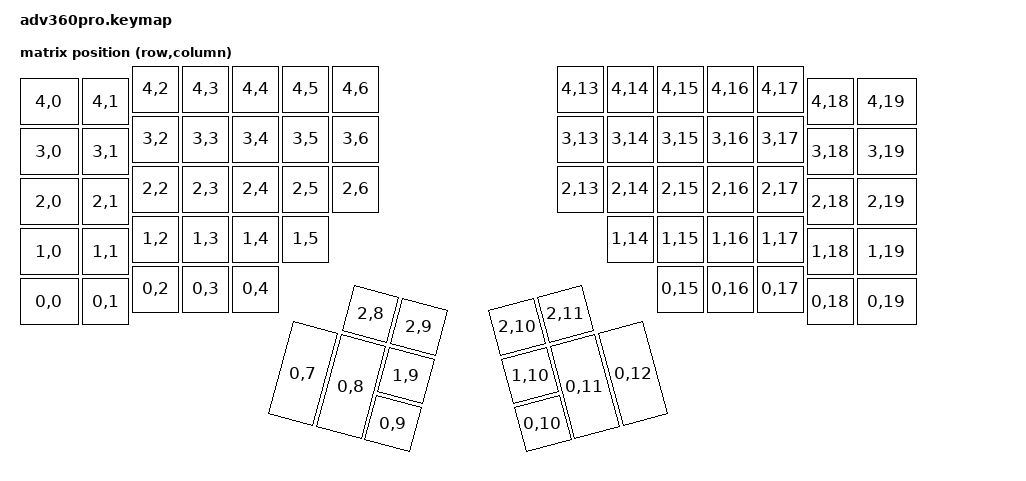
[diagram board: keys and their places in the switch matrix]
/*                                 ADVANTAGE 360 KEY MATRIX / LAYOUT MAPPING
 ╭────────────────────────────┬────────────────────────────╮ ╭────────────────────────────┬────────────────────────────╮
 │  0   1   2   3   4   5   6 │  7   8   9  10  11  12  13 │ │ LN5 LN4 LN3 LN2 LN1 LN0 -- │ --  RN0 RN1 RN2 RN3 RN4 RN5│
 │ 14  15  16  17  18  19  20 │ 21  22  23  24  25  26  27 │ │ LT5 LT4 LT3 LT2 LT1 LT0 -- │ --  RT0 RT1 RT2 RT3 RT4 RT5│
 │ 28  29  30  31  32  33  34 │ 35  36  37  38  39  40  41 │ │ LM5 LM4 LM3 LM2 LM1 LM0 -- │ --  RM0 RM1 RM2 RM3 RM4 RM5│
 │ 42  43  44  45  46  47 ╭───┴───╮ 48  49  50  51  52  53 │ │ LB5 LB4 LB3 LB2 LB1 LB0╭───┴───╮ RB0 RB1 RB2 RB3 RB4 RB5│
 │ 54  55  56  57  58╭────╯       ╰────╮59  60  61  62  63 │ │ --  --  --  --  --╭────╯       ╰────╮--  --  --  --  -- │
 ╰───────────────────┼────────┬────────┼───────────────────╯ ╰───────────────────┼────────┬────────┼───────────────────╯
                 ╭───╯ 64  65 │ 66  67 ╰───╮                                 ╭───╯ --  -- │ --  -- ╰───╮
                 │ 68  69  70 │ 71  72  73 │                                 │ LH1 LH0 -- │ --  RH0 RH1│
                 ╰───────╮ 74 │ 75 ╭───────╯                                 ╰───────╮ -- │ -- ╭───────╯
                         ╰────┴────╯                                                 ╰────┴────╯ *//* source key position labels */

#include "adv360_custom.h"  // urob key order, vendored from zmk-helpers v2

/* map 360's extra keys */
#define X_LT    &none &kp N5 &kp N1 &kp N2 &kp N3 &kp N4 &bootloader     &bootloader &none &kp N7 &kp N8 &kp N9 &none &studio_unlock \
                &kp TAB
#define X_MT    &kp N5 &to 0
#define X_RT    &kp RALT

#define X_LM    &kp ESC
#define X_MM    &tog GAME &tog GAME
#define X_RM    &kp RET

#define X_LB    &kp LSHFT
#define X_RB    &kp RSHFT


#define X_LH    &kp LCTRL &kp LGUI &kp LALT &kp LEFT &kp RIGHT     &kp UP &kp DOWN &none &none &none \
                &swapper    &tog GAME            &kp RGUI  &kp RCTRL
#define X_MH    &kp HOME    &kp PG_UP
#define X_RH    &kp END     &kp PG_DN

/* gaming version */
#define G_X_LT  &kp ESC &kp N6 &kp N1 &kp N2 &kp N3 &kp N4 &kp N5    &bootloader &none &kp N7 &kp N8 &kp N9 &none &studio_unlock \
                &kp ESC
#define G_X_MT  &kp T &to 0

#define G_X_LM  &kp H
#define G_X_MM  &kp G &tog GAME
#define G_X_RM  &kp RET

#define G_X_LB  &kp B

#define G_X_LH  &kp I     &kp LGUI &kp RET &kp LEFT &kp RIGHT     &kp UP &kp DOWN &none &none &none \
                &swapper     &tog GAME            &kp RGUI  &kp RCTRL
#define G_X_MH  &kp M       &kp PG_UP
#define G_X_RH  &mo GAME_FN  &kp PG_DN

/* game_fn layer (held from the game layer) */
#define GF_X_LT ___ &kp F6 &kp F1 &kp F2 &kp F3 &kp F4 &kp F5     ___ ___ ___ ___ ___ ___ ___ \
                ___
#define GF_X_MT &kp N0 ___

#define GF_X_LM ___
#define GF_X_MM &kp F11 ___

#define GF_X_LB &kp PSCRN

#define GF_X_LH &kp C_MUTE ___ &kp C_PP &kp C_VOL_DN &kp C_VOL_UP     ___ ___ ___ ___ ___ \
                ___ ___            ___ ___
#define GF_X_MH &kp BSPC    ___
#define GF_X_RH ___         ___

/* activate bluetooth */
#define CONFIG_WIRELESS 1

/* leds and backlights
#include <dt-bindings/zmk/rgb.h>
#include <dt-bindings/zmk/backlight.h>
 */

/* source the main keymap */
#include "base.keymap"


/* use urob's key order for the Advantage 360 pro
 *
 * Upstream ZMK's default transform interleaves the thumb keys with the main
 * rows. The keymap is written in urob's order (rows first, thumbs last), so
 * both the matrix transform and the physical layout used by ZMK Studio are
 * re-ordered here. The key geometry is copied from upstream's
 * adv360pro-layouts.dtsi. The right half keeps upstream's col-offset of 10.
 */
#include <dt-bindings/zmk/matrix_transform.h>

&matrix_transform0 {
    map = <
        RC(4,0) RC(4,1) RC(4,2) RC(4,3) RC(4,4) RC(4,5) RC(4,6) RC(4,13) RC(4,14) RC(4,15) RC(4,16) RC(4,17) RC(4,18) RC(4,19)
        RC(3,0) RC(3,1) RC(3,2) RC(3,3) RC(3,4) RC(3,5) RC(3,6) RC(3,13) RC(3,14) RC(3,15) RC(3,16) RC(3,17) RC(3,18) RC(3,19)
        RC(2,0) RC(2,1) RC(2,2) RC(2,3) RC(2,4) RC(2,5) RC(2,6) RC(2,13) RC(2,14) RC(2,15) RC(2,16) RC(2,17) RC(2,18) RC(2,19)
        RC(1,0) RC(1,1) RC(1,2) RC(1,3) RC(1,4) RC(1,5) RC(1,14) RC(1,15) RC(1,16) RC(1,17) RC(1,18) RC(1,19)
        RC(0,0) RC(0,1) RC(0,2) RC(0,3) RC(0,4) RC(0,15) RC(0,16) RC(0,17) RC(0,18) RC(0,19)
        RC(2,8) RC(2,9) RC(2,10) RC(2,11)
        RC(0,7) RC(0,8) RC(1,9) RC(1,10) RC(0,11) RC(0,12)
        RC(0,9) RC(0,10)
    >;
};

&physical_layout0 {
    display-name = "urob";
    keys  //                     w   h    x    y     rot    rx    ry
        = <&key_physical_attrs 125 100    0   25       0     0     0>
        , <&key_physical_attrs 100 100  125   25       0     0     0>
        , <&key_physical_attrs 100 100  225    0       0     0     0>
        , <&key_physical_attrs 100 100  325    0       0     0     0>
        , <&key_physical_attrs 100 100  425    0       0     0     0>
        , <&key_physical_attrs 100 100  525    0       0     0     0>
        , <&key_physical_attrs 100 100  625    0       0     0     0>
        , <&key_physical_attrs 100 100 1075    0       0     0     0>
        , <&key_physical_attrs 100 100 1175    0       0     0     0>
        , <&key_physical_attrs 100 100 1275    0       0     0     0>
        , <&key_physical_attrs 100 100 1375    0       0     0     0>
        , <&key_physical_attrs 100 100 1475    0       0     0     0>
        , <&key_physical_attrs 100 100 1575   25       0     0     0>
        , <&key_physical_attrs 125 100 1675   25       0     0     0>
        , <&key_physical_attrs 125 100    0  125       0     0     0>
        , <&key_physical_attrs 100 100  125  125       0     0     0>
        , <&key_physical_attrs 100 100  225  100       0     0     0>
        , <&key_physical_attrs 100 100  325  100       0     0     0>
        , <&key_physical_attrs 100 100  425  100       0     0     0>
        , <&key_physical_attrs 100 100  525  100       0     0     0>
        , <&key_physical_attrs 100 100  625  100       0     0     0>
        , <&key_physical_attrs 100 100 1075  100       0     0     0>
        , <&key_physical_attrs 100 100 1175  100       0     0     0>
        , <&key_physical_attrs 100 100 1275  100       0     0     0>
        , <&key_physical_attrs 100 100 1375  100       0     0     0>
        , <&key_physical_attrs 100 100 1475  100       0     0     0>
        , <&key_physical_attrs 100 100 1575  125       0     0     0>
        , <&key_physical_attrs 125 100 1675  125       0     0     0>
        , <&key_physical_attrs 125 100    0  225       0     0     0>
        , <&key_physical_attrs 100 100  125  225       0     0     0>
        , <&key_physical_attrs 100 100  225  200       0     0     0>
        , <&key_physical_attrs 100 100  325  200       0     0     0>
        , <&key_physical_attrs 100 100  425  200       0     0     0>
        , <&key_physical_attrs 100 100  525  200       0     0     0>
        , <&key_physical_attrs 100 100  625  200       0     0     0>
        , <&key_physical_attrs 100 100 1075  200       0     0     0>
        , <&key_physical_attrs 100 100 1175  200       0     0     0>
        , <&key_physical_attrs 100 100 1275  200       0     0     0>
        , <&key_physical_attrs 100 100 1375  200       0     0     0>
        , <&key_physical_attrs 100 100 1475  200       0     0     0>
        , <&key_physical_attrs 100 100 1575  225       0     0     0>
        , <&key_physical_attrs 125 100 1675  225       0     0     0>
        , <&key_physical_attrs 125 100    0  325       0     0     0>
        , <&key_physical_attrs 100 100  125  325       0     0     0>
        , <&key_physical_attrs 100 100  225  300       0     0     0>
        , <&key_physical_attrs 100 100  325  300       0     0     0>
        , <&key_physical_attrs 100 100  425  300       0     0     0>
        , <&key_physical_attrs 100 100  525  300       0     0     0>
        , <&key_physical_attrs 100 100 1175  300       0     0     0>
        , <&key_physical_attrs 100 100 1275  300       0     0     0>
        , <&key_physical_attrs 100 100 1375  300       0     0     0>
        , <&key_physical_attrs 100 100 1475  300       0     0     0>
        , <&key_physical_attrs 100 100 1575  325       0     0     0>
        , <&key_physical_attrs 125 100 1675  325       0     0     0>
        , <&key_physical_attrs 125 100    0  425       0     0     0>
        , <&key_physical_attrs 100 100  125  425       0     0     0>
        , <&key_physical_attrs 100 100  225  400       0     0     0>
        , <&key_physical_attrs 100 100  325  400       0     0     0>
        , <&key_physical_attrs 100 100  425  400       0     0     0>
        , <&key_physical_attrs 100 100 1275  400       0     0     0>
        , <&key_physical_attrs 100 100 1375  400       0     0     0>
        , <&key_physical_attrs 100 100 1475  400       0     0     0>
        , <&key_physical_attrs 100 100 1575  425       0     0     0>
        , <&key_physical_attrs 125 100 1675  425       0     0     0>
        , <&key_physical_attrs 100 100  675  400    1500   525   400>
        , <&key_physical_attrs 100 100  775  400    1500   525   400>
        , <&key_physical_attrs 100 100  925  400 (-1500)  1275   400>
        , <&key_physical_attrs 100 100 1025  400 (-1500)  1275   400>
        , <&key_physical_attrs 100 200  575  500    1500   525   400>
        , <&key_physical_attrs 100 200  675  500    1500   525   400>
        , <&key_physical_attrs 100 100  775  500    1500   525   400>
        , <&key_physical_attrs 100 100  925  500 (-1500)  1275   400>
        , <&key_physical_attrs 100 200 1025  500 (-1500)  1275   400>
        , <&key_physical_attrs 100 200 1125  500 (-1500)  1275   400>
        , <&key_physical_attrs 100 100  775  600    1500   525   400>
        , <&key_physical_attrs 100 100  925  600 (-1500)  1275   400>
        ;
};
